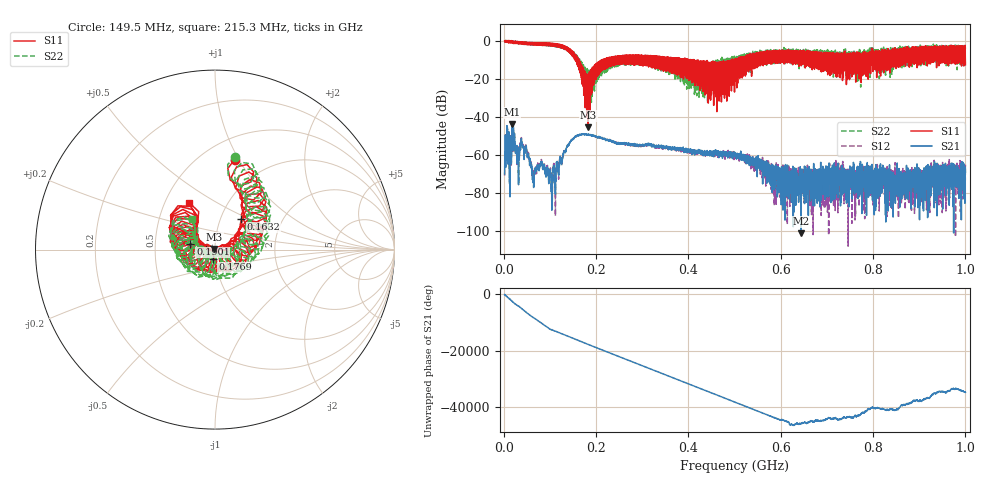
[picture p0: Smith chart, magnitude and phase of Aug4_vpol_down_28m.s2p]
!Keysight Technologies N9923A: A.12.45
!Date: Tuesday, 05 August 2025 20:52:16
!Timezone: (UTC+08:00) Kuala Lumpur, Singapore
!Model: N9923A
!Serial: MY61181427
!GPS Latitude:
!GPS Longitude:
!GPS TimeStamp: 0001-01-01 00:00:00Z
!GPS Seconds Since Last Read: 0
!CHECKSUM:1189531943
!Correction: S11(ON U)S21(ON U)S12(ON U)S22(ON U)
!S2P File: Measurements:S11,S21,S12,S22:
# Hz S DB R 50
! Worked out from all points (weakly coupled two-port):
!   4001 points, 2 MHz to 1 GHz, reference 50 ohm
!   highest |S21| = -44.09 dB at 18.22 MHz (marker M1); lowest = -101.5 dB at 644 MHz (marker M2)
!   lowest |S11| = -45.5 dB at 183.1 MHz (marker M3), VSWR 1.01, Z = 49.7 + j0.411 ohm
!   |S11| at or under -10 dB: 162.8 MHz to 213.8 MHz (51.05 MHz wide, 27.1 % of centre); 405.5 MHz to 410.4 MHz (4.943 MHz wide, 1.21 % of centre); 412.2 MHz to 494 MHz (81.78 MHz wide, 18 % of centre)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
!   |S22| runs from -34.3 to 0.1 dB; largest |S21 - S12| = 0.0009
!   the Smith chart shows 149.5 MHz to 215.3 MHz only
!   S11 on the Smith chart (normalised r, x): 149.5 MHz: 0.71, +0.96; 163.2 MHz: 1.25, +0.45; 176.9 MHz: 0.97, -0.10; 190.1 MHz: 0.76, +0.05; 215.3 MHz: 0.66, +0.38
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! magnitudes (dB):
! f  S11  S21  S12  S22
! 2 MHz  -0.1  -70.1  -71.0  -0.1
! 6.74 MHz  0.1  -46.0  -45.6  0.0
! 18.22 MHz  -0.5  -44.1  -44.5  -0.7
! 29.94 MHz  -0.3  -58.7  -58.8  -0.7
! 44.41 MHz  -1.8  -62.3  -60.8  -1.8
! 63.88 MHz  -0.9  -72.8  -71.4  -1.0
! 83.09 MHz  -2.4  -65.9  -65.7  -2.4
! 101.3 MHz  -2.3  -68.9  -67.0  -2.3
! 149.5 MHz  -5.8  -51.7  -51.6  -5.5
! 163.2 MHz  -12.9  -49.8  -49.7  -11.2
! 168.4 MHz  -19.7  -49.4  -49.5  -16.5
! 176.9 MHz  -25.3  -49.2  -49.2  -25.6
! 183.1 MHz  -45.5  -49.2  -49.2  -23.0
! 190.1 MHz  -17.1  -50.2  -49.8  -22.8
! 215.3 MHz  -10.5  -51.7  -51.5  -13.3
! 334.8 MHz  -8.2  -55.8  -56.6  -10.1
! 418.2 MHz  -19.1  -58.7  -59.1  -28.9
! 501 MHz  -9.8  -61.0  -60.8  -9.0
! 644 MHz  -6.4  -101.5  -68.9  -5.6
! 667.4 MHz  -6.2  -82.9  -70.1  -6.6
! 833.8 MHz  -6.1  -72.3  -74.6  -13.6
! 1 GHz  -12.6  -69.2  -65.3  -4.0
